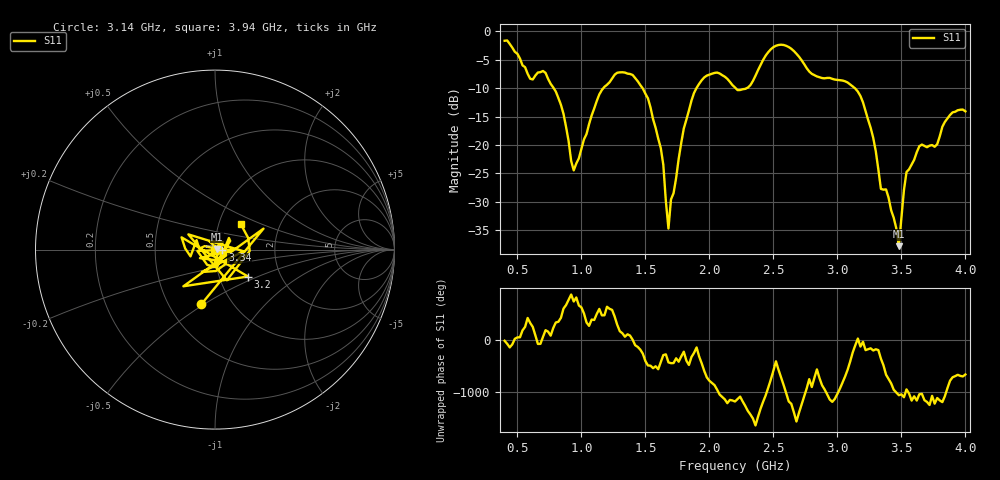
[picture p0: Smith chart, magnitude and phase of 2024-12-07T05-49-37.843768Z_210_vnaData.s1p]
!Created with skrf (http://scikit-rf.org).
# Hz S RI R 50.0
!freq ReS11 ImS11
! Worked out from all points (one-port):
!   181 points, 400 MHz to 4 GHz, reference 50 ohm
!   lowest |S11| = -37.8 dB at 3.48 GHz (marker M1), VSWR 1.03, Z = 51.3 + j0.29 ohm
!   |S11| at or under -10 dB: 783.4 MHz to 1.171 GHz (388.1 MHz wide, 39.7 % of centre); 1.478 GHz to 1.899 GHz (421.3 MHz wide, 25 % of centre); 3.136 GHz to end of sweep (the widest 3 of 4)
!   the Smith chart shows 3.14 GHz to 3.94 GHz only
!   S11 on the Smith chart (normalised r, x): 3.14 GHz: 0.72, -0.49; 3.2 GHz: 1.37, -0.44; 3.34 GHz: 1.09, -0.01; 3.94 GHz: 1.27, +0.38
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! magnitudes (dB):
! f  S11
! 400 MHz  -1.7
! 600 MHz  -8.4
! 720 MHz  -7.3
! 860 MHz  -14.5
! 940 MHz  -24.5
! 1.14 GHz  -11.1
! 1.3 GHz  -7.2
! 1.52 GHz  -11.8
! 1.62 GHz  -20.5
! 1.68 GHz  -34.7
! 1.76 GHz  -22.4
! 1.86 GHz  -12.2
! 1.94 GHz  -8.6
! 2.2 GHz  -9.9
! 2.32 GHz  -9.5
! 2.5 GHz  -2.8
! 2.66 GHz  -3.5
! 3.1 GHz  -9.3
! 3.14 GHz  -10.1
! 3.2 GHz  -12.5
! 3.28 GHz  -18.8
! 3.34 GHz  -27.7
! 3.38 GHz  -27.8
! 3.48 GHz  -37.8
! 3.52 GHz  -27.9
! 3.56 GHz  -24.3
! 3.94 GHz  -13.9
! 4 GHz  -14.1
